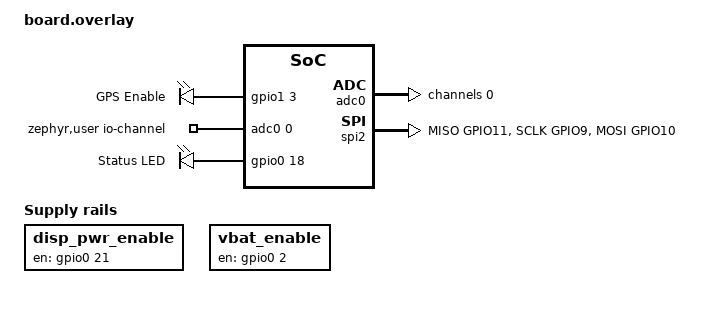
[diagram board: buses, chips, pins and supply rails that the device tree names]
/*
 * SPDX-License-Identifier: MIT
 * Heltec Wireless Tracker (V1.1) — ZephCore overlay
 *
 * Upstream DTS defines: SX1262 (lora0) on SPI2, ST7735R 160x80 TFT
 * (st7735r_160x80) on SPI3, GPS (gnss-nmea-generic) on UART2, button (GPIO0),
 * vbatt voltage-divider, Vext hog (GPIO3, output-high), TFT backlight hog
 * (GPIO21, output-high), USB serial, BLE, WiFi.
 *
 * Upstream DTS issues corrected here:
 *   - 'gnss_rst' (GPIO35) deleted; exposed as the gps-enable alias instead.
 *   - Battery 'vbatt' sits on &adc1 (ADC unit 2 = GPIO11 = the SX1262 MISO!);
 *     removed, and the battery moved to &adc0 (ADC unit 1 = GPIO1).  See the
 *     battery section below — this was also why LoRa SPI reads returned 0x00.
 *   - GPIO17/18 parked on UART1; UART1 disabled and GPIO18 exposed as the
 *     led0 status LED (otherwise it stays permanently lit).
 *
 * LoRa SPI2:    SCLK=9, MOSI=10, MISO=11, NSS=8 (driver GPIO CS)
 * LoRa ctrl:    DIO1=14, BUSY=13, RESET=12 (open-drain), DIO2 RF switch, TCXO 1.8V
 * Display SPI3: SCLK=41, MOSI=42, CS=38, DC=GPIO40, RST=GPIO39
 * GPS UART2:    TX=GPIO34, RX=GPIO33, 115200 baud (GPS powered by the Vext rail)
 * GPS enable:   GPIO35 (gpio1 pin 3) — drives the GPS reset/run line; HIGH = run
 * Battery ADC:  GPIO1 = ADC1 ch0 (&adc0), divider enable GPIO2 active-HIGH
 * Vext:         GPIO3 (gpio0 pin 3, hog output-high — powers GPS + display rail)
 * Backlight:    GPIO21 (gpio0 pin 21 — disp_pwr_enable regulator)
 * Status LED:   GPIO18 (led0 heartbeat, active-HIGH)
 * Button:       GPIO0
 */

#include <zephyr/dt-bindings/input/input-event-codes.h>
#include <zephyr/dt-bindings/pinctrl/esp-pinctrl-common.h>
#include <zephyr/dt-bindings/pinctrl/esp32s3-pinctrl.h>
#include <zephyr/dt-bindings/pinctrl/esp32s3-gpio-sigmap.h>

/ {
	chosen {
		zephyr,console    = &usb_serial;
		zephyr,shell-uart = &usb_serial;
		/* Mono-TFT wrapper: presents PIXEL_FORMAT_MONO01 to CFB (~1600-byte buffer)
		 * and converts each row to RGB565 for the ST7735R.  Direct RGB565 to CFB
		 * causes random noise because CFB doesn't drive colour TFTs correctly. */
		zephyr,display = &mono_tft;
	};

	/* Monochrome wrapper around the ST7735R 160x80 colour TFT */
	mono_tft: mono-tft {
		compatible = "zephcore,mono-tft";
		tft-dev = <&st7735r_160x80>;
		width = <160>;
		height = <80>;
	};

	/* Add label to upstream 'buttons' node so input-longpress can reference it */
	buttons: buttons {
	};

	/* TFT backlight — GPIO21 via N-ch MOSFET, active-HIGH.
	 * Upstream DTS hard-wires this as a gpio-hog (always on).  Replace with a
	 * regulator-fixed so display.c can cut the backlight when auto-off fires. */
	disp_pwr_enable: disp-pwr-enable {
		compatible = "regulator-fixed";
		regulator-name = "disp-pwr-enable";
		enable-gpios = <&gpio0 21 GPIO_ACTIVE_HIGH>;
	};

	/* GPS run/enable — GPIO35 (gpio1 pin 3), active-HIGH.
	 * The GPS (UC6580) is powered from the always-on Vext rail; GPIO35 is its
	 * reset/run line — HIGH releases the GPS so it runs, LOW holds it off.
	 * ZephCore's simple-board GPS manager drives this via the gps-enable alias
	 * (no separate power pin needed).  GPIO36 is the GPS PPS *output* and is
	 * intentionally left unconfigured (it must not be driven).
	 * Upstream DTS mislabels GPIO35 as 'gnss_rst' — deleted below. */
	gps_en: gps-enable {
		compatible = "gpio-leds";
		gps_enable_pin: gps_enable {
			gpios = <&gpio1 3 GPIO_ACTIVE_HIGH>;
			label = "GPS Enable";
		};
	};

	/* Battery ADC enable — GPIO2, active-HIGH.
	 * On the Wireless Tracker V1.1 the divider-enable (ADC_CTRL) is GPIO2,
	 * active-HIGH (meshtastic variant.h: "ADC_CTRL 2 // active HIGH, powers the
	 * voltage divider. Only on 1.1").  The previous GPIO37/active-LOW came from
	 * HeltecV3Board (a different board) and never powered this board's divider,
	 * so the ADC read ~0 and the battery showed 0%.  GPIO2 is an ESP32-S3
	 * strapping pin but is only driven post-boot, during a battery read. */
	vbat_enable: vbat-enable {
		compatible = "regulator-fixed";
		regulator-name = "vbat-enable";
		enable-gpios = <&gpio0 2 GPIO_ACTIVE_HIGH>;
	};

	/* Battery ADC — ZephCore reads via zephyr,user { io-channels }.
	 * Multiplier: Vref_internal(1100) * divider_ratio(5.2) = 5720.
	 * 5.2 is the empirical ratio from MeshCore's HeltecV3Board for this hardware.
	 *
	 * IMPORTANT: the battery pin is GPIO1 = ADC unit 1 channel 0.  In the
	 * upstream esp32s3 DTS the node *labelled* adc0 is unit 1 and the node
	 * labelled adc1 is unit 2 (the label is 0-indexed, the unit is 1-indexed).
	 * So GPIO1 lives on &adc0.  The previous &adc1 (unit 2) channel 0 maps to
	 * ADC2_CH0 = GPIO11 — which is the SX1262 MISO: the ADC channel setup drives
	 * that pad to GPIO_DISCONNECTED (clearing its input buffer), which both broke
	 * all LoRa SPI reads AND sampled the wrong pin (battery read 0%). */
	zephyr,user {
		io-channels = <&adc0 0>;
		vbat-mv-multiplier = <5720>;
	};

	aliases {
		gps-enable = &gps_enable_pin;
		led0       = &status_led;
	};

	/* Status LED — GPIO18 (meshtastic LED_PIN), active-HIGH.  Used by ZephCore
	 * as the led0 heartbeat (brief pulses; off when idle), toggleable from the
	 * LED menu item.  UART1 (which upstream parks on this pin) is disabled below. */
	leds {
		compatible = "gpio-leds";
		status_led: led_0 {
			gpios = <&gpio0 18 GPIO_ACTIVE_HIGH>;
			label = "Status LED";
		};
	};

	/* Button chain: single button, longpress = action/enter, short tap = page scroll. */
	user_btn_longpress {
		compatible = "zephyr,input-longpress";
		input = <&buttons>;
		input-codes = <INPUT_KEY_0>;
		short-codes = <INPUT_KEY_A>;
		long-codes = <INPUT_KEY_ENTER>;
		long-delay-ms = <1000>;
	};

	page_btn_multitap {
		compatible = "zephcore,input-multi-tap";
		input-codes = <INPUT_KEY_A>;
		tap-codes = <INPUT_KEY_1 INPUT_KEY_LEFT>;
		tap-delay-ms = <400>;
	};
};

/* Remove upstream 'gnss_rst' node — GPIO35 is GPS power enable, not reset.
 * Our gps-enable node above replaces it on the same pin. */
/delete-node/ &gnss_rst;

/* Remove upstream tft-backlight gpio-hog — GPIO21 is now controlled by the
 * disp_pwr_enable regulator-fixed above so the display driver can cut power
 * when the auto-off timer fires. */
&gpio0 {
	/delete-node/ tft-backlight;
};

/* White status LED on GPIO18 (meshtastic LED_PIN), active-HIGH.  The upstream
 * DTS mis-assigns GPIO17/18 to UART1 (unused on this board), which leaves the
 * pad high so the LED is permanently lit.  Disable UART1 to free the pin; the
 * LED itself is exposed as led0 below so ZephCore's heartbeat drives it (off
 * when idle, brief pulses) and the LED menu item can disable it. */
&uart1 {
	status = "disabled";
};

/* Battery ADC channel configuration on adc0 (ADC unit 1 -> GPIO1).
 * adc0 is status="disabled" upstream, so enable it here.  Without the channel
 * node adc_channel_setup_dt() is a no-op and the resolution stays 0, causing
 * VALID_RESOLUTION() to reject the read.  ADC_GAIN_1 = 0 dB; effective range
 * 0–950 mV; battery divider output is 550–780 mV (3.0–4.2 V), well in range. */
&adc0 {
	status = "okay";
	#address-cells = <1>;
	#size-cells = <0>;

	channel@0 {
		reg = <0>;
		zephyr,gain = "ADC_GAIN_1";
		zephyr,reference = "ADC_REF_INTERNAL";
		zephyr,acquisition-time = <ADC_ACQ_TIME_DEFAULT>;
		zephyr,resolution = <12>;
	};
};

/* Remove the upstream 'vbatt' voltage-divider: it sits on &adc1 (unit 2) ch0 =
 * GPIO11 = the SX1262 MISO, and with CONFIG_VOLTAGE_DIVIDER=y its driver would
 * run adc_channel_setup on GPIO11 and disconnect the MISO pad.  ZephCore reads
 * the battery via zephyr,user (on adc0) instead, so this node is unused. */
/ {
	/delete-node/ vbatt;
};

/* ADC unit 2 (label adc1) is unused on this board; keep it disabled so nothing
 * can claim GPIO11 (MISO) as an ADC pad. */
&adc1 {
	status = "disabled";
};

/* SX1262 LoRa on SPI2 (native upstream bus).  Switch from the upstream hardware
 * CS pinmux (SPIM2_CSEL_GPIO8) to driver-controlled GPIO CS, matching the
 * working Heltec V3.  Add a DIO1 pull-down and RX boost (upstream omits both).
 * (SPI reads work once the battery ADC is off &adc1 — see the battery section
 * above; the bus itself needs nothing extra.) */
&pinctrl {
	spim2_lora: spim2_lora {
		group1 {
			pinmux = <SPIM2_MISO_GPIO11>,
				 <SPIM2_SCLK_GPIO9>;
		};

		group2 {
			pinmux = <SPIM2_MOSI_GPIO10>;
			output-low;
		};
	};
};

&spi2 {
	pinctrl-0 = <&spim2_lora>;
	cs-gpios = <&gpio0 8 GPIO_ACTIVE_LOW>;
};

&lora0 {
	dio1-gpios = <&gpio0 14 (GPIO_PULL_DOWN | GPIO_ACTIVE_HIGH)>;
	rx-boosted;
};

/*
 * Flash partitions — FN8 is 8 MB but the upstream AMP table covers only
 * the lower 4 MB (0x000000-0x3FFFFF). Place LittleFS in the unused upper
 * half at 0x400000 (384 KB). No existing partitions are touched.
 */
&flash0 {
	partitions {
		lfs_partition: partition@400000 {
			label = "lfs";
			reg = <0x400000 0x60000>;
		};
	};
};

/* LittleFS auto-mount — standard /lfs mount point */
#include "../../common/filesystem.dtsi"
